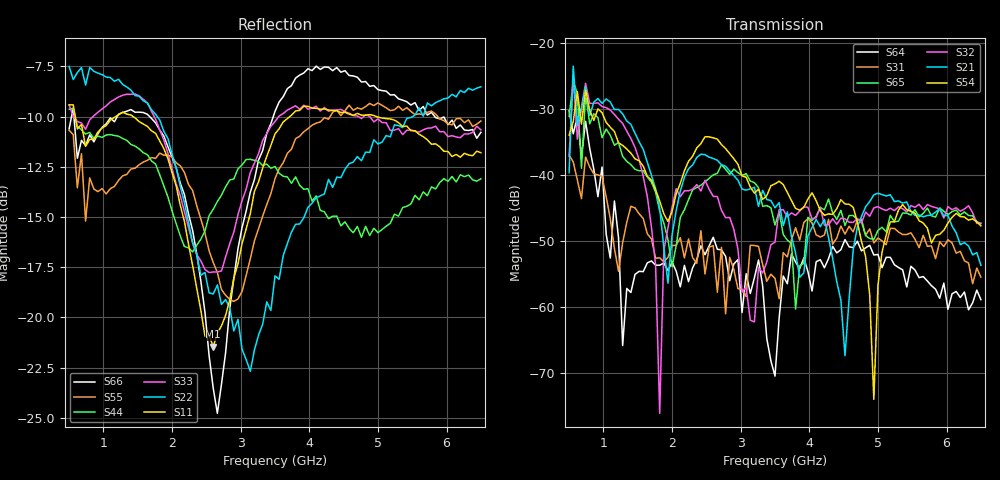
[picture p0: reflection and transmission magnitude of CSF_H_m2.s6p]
!Keysight Technologies,M9804A,MY58100912,A.14.10.03
!Date: Thursday, April 27, 2023 10:28:33
!Correction: S11(C  6-Port  )
!S12(C  6-Port  )
!S13(C  6-Port  )
!S14(C  6-Port  )
!S15(C  6-Port  )
!S16(C  6-Port  )
!S21(C  6-Port  )
!S22(C  6-Port  )
!S23(C  6-Port  )
!S24(C  6-Port  )
!S25(C  6-Port  )
!S26(C  6-Port  )
!S31(C  6-Port  )
!S32(C  6-Port  )
!S33(C  6-Port  )
!S34(C  6-Port  )
!S35(C  6-Port  )
!S36(C  6-Port  )
!S41(C  6-Port  )
!S42(C  6-Port  )
!S43(C  6-Port  )
!S44(C  6-Port  )
!S45(C  6-Port  )
!S46(C  6-Port  )
!S51(C  6-Port  )
!S52(C  6-Port  )
!S53(C  6-Port  )
!S54(C  6-Port  )
!S55(C  6-Port  )
!S56(C  6-Port  )
!S61(C  6-Port  )
!S62(C  6-Port  )
!S63(C  6-Port  )
!S64(C  6-Port  )
!S65(C  6-Port  )
!S66(C  6-Port  )
!S6P File: Measurement: :
# Hz S  RI  R 50
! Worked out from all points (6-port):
!   101 points, 500 MHz to 6.5 GHz, reference 50 ohm
!   strongest paths, dB at 500 MHz, 2 GHz, 3.5 GHz, 5 GHz, 6.5 GHz:
!     S54: -34.0, -45.5, -41.3, -56.7, -47.7
!     S21: -39.6, -49.1, -45.0, -42.8, -53.7
!     S32: -37.2, -44.9, -50.2, -44.8, -47.2
!     S65: -31.1, -53.9, -47.6, -48.4, -47.4
!     S31: -37.0, -50.7, -55.7, -49.5, -55.5
!     S64: -30.2, -53.2, -70.5, -52.0, -58.9
!   lowest |S11| = -21.5 dB at 2.6 GHz (marker M1), VSWR 1.18, Z = 42.5 + j2.16 ohm
!   |S11| at or under -10 dB: 589.4 MHz to 1.176 GHz (586.9 MHz wide, 66.5 % of centre); 1.434 GHz to 3.714 GHz (2.28 GHz wide, 88.6 % of centre); 4.98 GHz to end of sweep
